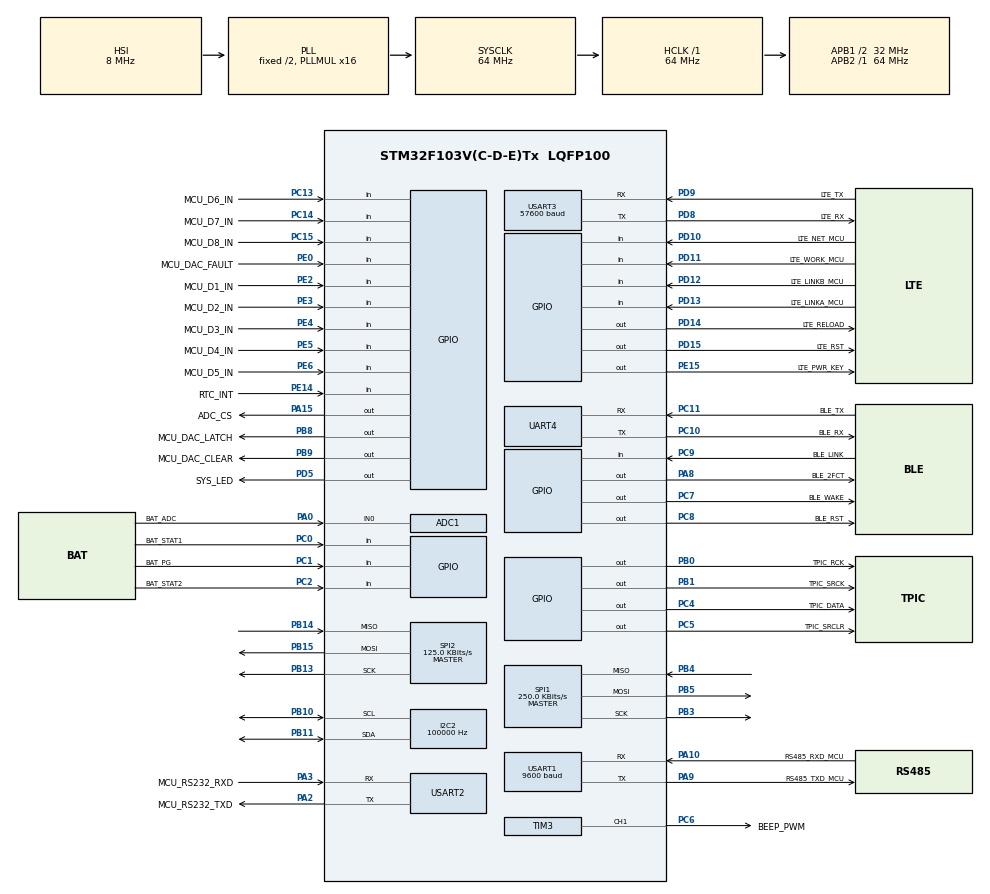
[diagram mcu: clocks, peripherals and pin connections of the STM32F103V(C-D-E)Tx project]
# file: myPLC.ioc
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PD12.GPIO_Label=LTE_LINKB_MCU
PD14.GPIO_ModeDefaultOutputPP=GPIO_MODE_OUTPUT_OD
SPI1.VirtualType=VM_MASTER
SPI2.VirtualType=VM_MASTER
PB10.Mode=I2C
PA10.GPIO_PuPd=GPIO_PULLUP
PA3.GPIO_PuPd=GPIO_PULLUP
Dma.USART3_TX.1.PeriphDataAlignment=DMA_PDATAALIGN_BYTE
PB9.GPIO_ModeDefaultOutputPP=GPIO_MODE_OUTPUT_PP
PC6.GPIO_Label=BEEP_PWM
PD10.GPIO_PuPd=GPIO_PULLUP
Dma.USART3_TX.1.Instance=DMA1_Channel2
PB13.Signal=SPI2_SCK
PC15-OSC32_OUT.GPIO_Label=MCU_D8_IN
PE6.GPIO_Label=MCU_D5_IN
RCC.SYSCLKSource=RCC_SYSCLKSOURCE_PLLCLK
NVIC.DMA1_Channel3_IRQn=true\:0\:0\:false\:false\:true\:true\:false\:true
PD14.GPIO_Speed=GPIO_SPEED_FREQ_MEDIUM
USART3.BaudRate=57600
PD13.GPIO_Mode=GPIO_MODE_INPUT
SPI1.Direction=SPI_DIRECTION_2LINES
RCC.APB2TimFreq_Value=64000000
PC7.Signal=GPIO_Output
SPI1.CalculateBaudRate=250.0 KBits/s
PD8.Signal=USART3_TX
PE5.Signal=GPIO_Input
PB3.Mode=Full_Duplex_Master
PC1.GPIO_PuPd=GPIO_PULLUP
PC4.GPIO_Label=TPIC_DATA
PB1.GPIO_Speed=GPIO_SPEED_FREQ_MEDIUM
PB14.Mode=Full_Duplex_Master
PB1.GPIO_Label=TPIC_SRCK
PD11.GPIO_Mode=GPIO_MODE_INPUT
PE4.GPIO_Label=MCU_D3_IN
PB8.PinState=GPIO_PIN_SET
SPI2.CalculateBaudRate=125.0 KBits/s
PE2.Signal=GPIO_Input
PA8.Signal=GPIO_Output
PD14.GPIO_PuPd=GPIO_PULLUP
PA8.GPIO_ModeDefaultOutputPP=GPIO_MODE_OUTPUT_OD
NVIC.DMA2_Channel3_IRQn=true\:0\:0\:false\:false\:true\:true\:false\:true
Dma.UART4_RX.2.Direction=DMA_PERIPH_TO_MEMORY
Dma.USART3_TX.1.Priority=DMA_PRIORITY_LOW
Mcu.Package=LQFP100
PE2.GPIO_Mode=GPIO_MODE_INPUT
PB9.Signal=GPIO_Output
PB1.Signal=GPIO_Output
ADC1.EnableInjectedConversion=DISABLE
NVIC.TimeBase=TIM7_IRQn
SPI2.Mode=SPI_MODE_MASTER
Dma.USART1_RX.4.Direction=DMA_PERIPH_TO_MEMORY
PD12.Signal=GPIO_Input
PC13-TAMPER-RTC.GPIO_PuPd=GPIO_PULLUP
NVIC.TimeBaseIP=TIM7
PA10.Signal=USART1_RX
PB9.GPIO_PuPd=GPIO_PULLUP
PC8.GPIO_Speed=GPIO_SPEED_FREQ_MEDIUM
PC11.Mode=Asynchronous
Dma.UART4_TX.3.PeriphDataAlignment=DMA_PDATAALIGN_BYTE
PC2.GPIO_Mode=GPIO_MODE_INPUT
RCC.APB1TimFreq_Value=64000000
PD5.GPIO_Speed=GPIO_SPEED_FREQ_MEDIUM
PB0.GPIO_ModeDefaultOutputPP=GPIO_MODE_OUTPUT_PP
PB13.Mode=Full_Duplex_Master
NVIC.DMA1_Channel4_IRQn=true\:0\:0\:false\:false\:true\:true\:false\:true
Dma.USART3_TX.1.PeriphInc=DMA_PINC_DISABLE
NVIC.USART1_IRQn=true\:0\:0\:false\:false\:true\:false\:true\:true
PE6.GPIO_PuPd=GPIO_PULLUP
PD9.GPIO_PuPd=GPIO_PULLUP
PA8.GPIO_Speed=GPIO_SPEED_FREQ_MEDIUM
PD15.Signal=GPIO_Output
NVIC.UART4_IRQn=true\:0\:0\:false\:false\:true\:false\:true\:true
Dma.USART3_RX.0.Instance=DMA1_Channel3
PC7.GPIO_ModeDefaultOutputPP=GPIO_MODE_OUTPUT_OD
Dma.USART3_TX.1.MemDataAlignment=DMA_MDATAALIGN_BYTE
FREERTOS.Tasks01=defaultTask,24,128,StartDefaultTask,Default,NULL,Dynamic,NULL,NULL
PD9.GPIO_Label=LTE_TX
PC4.PinState=GPIO_PIN_SET
PA9.GPIO_Label=RS485_TXD_MCU
PB8.GPIO_PuPd=GPIO_PULLUP
PC6.Signal=S_TIM3_CH1
PC2.Signal=GPIO_Input
Dma.USART1_RX.4.Priority=DMA_PRIORITY_LOW
SPI1.CLKPhase=SPI_PHASE_2EDGE
Dma.USART1_TX.5.MemDataAlignment=DMA_MDATAALIGN_BYTE
Dma.USART1_RX.4.Mode=DMA_NORMAL
PC0.Signal=GPIO_Input
RCC.APB1CLKDivider=RCC_HCLK_DIV2
UART4.VirtualMode=Asynchronous
PC14-OSC32_IN.Signal=GPIO_Input
Dma.UART4_RX.2.PeriphInc=DMA_PINC_DISABLE
PA0-WKUP.GPIO_Label=BAT_ADC
PA0-WKUP.Signal=ADCx_IN0
PD10.Signal=GPIO_Input
PA3.Mode=Asynchronous
PB8.GPIO_Label=MCU_DAC_LATCH
PA8.GPIO_Label=BLE_2FCT
PB11.Mode=I2C
PA9.Signal=USART1_TX
PC7.GPIO_PuPd=GPIO_PULLUP
PD8.Mode=Asynchronous
PB10.Signal=I2C2_SCL
PB14.Signal=SPI2_MISO
PE2.GPIO_PuPd=GPIO_PULLUP
PD14.PinState=GPIO_PIN_SET
Dma.UART4_RX.2.Mode=DMA_NORMAL
PC13-TAMPER-RTC.GPIO_Label=MCU_D6_IN
PE14.Signal=GPIO_Input
PE15.Signal=GPIO_Output
SPI1.Mode=SPI_MODE_MASTER
PC9.GPIO_PuPd=GPIO_PULLUP
PE3.GPIO_PuPd=GPIO_PULLUP
PC15-OSC32_OUT.GPIO_PuPd=GPIO_PULLUP
PA13.Mode=Serial_Wire
PE4.GPIO_PuPd=GPIO_PULLUP
PC7.GPIO_Label=BLE_WAKE
PC8.GPIO_PuPd=GPIO_PULLUP
ADC1.SamplingTime-1\#ChannelRegularConversion=ADC_SAMPLETIME_1CYCLE_5
PB5.Signal=SPI1_MOSI
ADC1.master=1
PD11.Signal=GPIO_Input
PD15.GPIO_ModeDefaultOutputPP=GPIO_MODE_OUTPUT_OD
PE5.GPIO_Label=MCU_D4_IN
USART1.VirtualMode=VM_ASYNC
PB9.PinState=GPIO_PIN_SET
ADC1.Rank-1\#ChannelRegularConversion=1
ProjectManager.HeapSize=0x200
NVIC.PriorityGroup=NVIC_PRIORITYGROUP_4
PC5.GPIO_Speed=GPIO_SPEED_FREQ_MEDIUM
PE15.GPIO_Speed=GPIO_SPEED_FREQ_MEDIUM
ADC1.EnableRegularConversion=ENABLE
PE3.Signal=GPIO_Input
Dma.USART1_TX.5.Instance=DMA1_Channel4
PC14-OSC32_IN.GPIO_PuPd=GPIO_PULLUP
PD5.GPIO_ModeDefaultOutputPP=GPIO_MODE_OUTPUT_OD
PB1.GPIO_ModeDefaultOutputPP=GPIO_MODE_OUTPUT_PP
PB0.Signal=GPIO_Output
PE0.GPIO_Mode=GPIO_MODE_INPUT
PC1.Signal=GPIO_Input
PE15.GPIO_ModeDefaultOutputPP=GPIO_MODE_OUTPUT_OD
Mcu.Family=STM32F1
NVIC.USART3_IRQn=true\:0\:0\:false\:false\:true\:false\:true\:true
Dma.USART1_TX.5.MemInc=DMA_MINC_ENABLE
Dma.USART3_RX.0.PeriphInc=DMA_PINC_DISABLE
NVIC.DMA1_Channel5_IRQn=true\:0\:0\:false\:false\:true\:true\:false\:true
ADC1.ContinuousConvMode=DISABLE
Dma.USART1_TX.5.Priority=DMA_PRIORITY_LOW
USART1.BaudRate=9600
PD15.GPIO_Speed=GPIO_SPEED_FREQ_MEDIUM
Dma.USART3_TX.1.MemInc=DMA_MINC_ENABLE
PC10.Signal=UART4_TX
PC0.GPIO_Label=BAT_STAT1
PB0.GPIO_Label=TPIC_RCK
PB11.Signal=I2C2_SDA
PB15.Signal=SPI2_MOSI
PD9.Mode=Asynchronous
Dma.UART4_TX.3.Priority=DMA_PRIORITY_LOW
ProjectManager.StackSize=0x400
PC8.PinState=GPIO_PIN_SET
VP_FREERTOS_VS_CMSIS_V2.Mode=CMSIS_V2
Dma.USART1_TX.5.PeriphInc=DMA_PINC_DISABLE
PD13.Signal=GPIO_Input
PD11.GPIO_PuPd=GPIO_PULLUP
Dma.UART4_TX.3.Direction=DMA_MEMORY_TO_PERIPH
PA15.GPIO_Label=ADC_CS
PC11.GPIO_PuPd=GPIO_PULLUP
PE5.GPIO_PuPd=GPIO_PULLUP
PB0.PinState=GPIO_PIN_SET
PB1.GPIO_PuPd=GPIO_PULLUP
PD11.GPIO_Label=LTE_WORK_MCU
RCC.HCLKFreq_Value=64000000
Dma.USART1_RX.4.MemDataAlignment=DMA_MDATAALIGN_BYTE
Dma.UART4_RX.2.MemDataAlignment=DMA_MDATAALIGN_BYTE
Dma.USART1_TX.5.Direction=DMA_MEMORY_TO_PERIPH
RCC.AHBFreq_Value=64000000
SPI2.BaudRatePrescaler=SPI_BAUDRATEPRESCALER_256
TIM3.Channel-PWM\ Generation1\ CH1=TIM_CHANNEL_1
PC1.GPIO_Mode=GPIO_MODE_INPUT
Dma.USART3_RX.0.MemDataAlignment=DMA_MDATAALIGN_BYTE
Dma.USART3_TX.1.Mode=DMA_NORMAL
PD15.PinState=GPIO_PIN_SET
RCC.PLLMUL=RCC_PLL_MUL16
PC4.GPIO_Speed=GPIO_SPEED_FREQ_MEDIUM
Dma.USART1_RX.4.Instance=DMA1_Channel5
PB4.Mode=Full_Duplex_Master
Dma.USART1_TX.5.Mode=DMA_NORMAL
PA14.Mode=Serial_Wire
PC11.GPIO_Label=BLE_TX
PB5.Mode=Full_Duplex_Master
PA10.GPIO_Label=RS485_RXD_MCU
Dma.USART3_RX.0.PeriphDataAlignment=DMA_PDATAALIGN_BYTE
PC7.PinState=GPIO_PIN_SET
SH.ADCx_IN0.0=ADC1_IN0,IN0
SH.S_TIM3_CH1.0=TIM3_CH1,PWM Generation1 CH1
PA15.GPIO_ModeDefaultOutputPP=GPIO_MODE_OUTPUT_PP
PE4.Signal=GPIO_Input
FREERTOS.configTOTAL_HEAP_SIZE=30720
PD12.GPIO_Mode=GPIO_MODE_INPUT
Dma.UART4_RX.2.Instance=DMA2_Channel3
TIM3.OCPolarity_1=TIM_OCPOLARITY_HIGH
PB1.PinState=GPIO_PIN_SET
PD13.GPIO_Label=LTE_LINKA_MCU
Dma.USART3_RX.0.Direction=DMA_PERIPH_TO_MEMORY
USART2.VirtualMode=VM_ASYNC
PD5.GPIO_Label=SYS_LED
PA2.GPIO_Label=MCU_RS232_TXD
PD15.GPIO_PuPd=GPIO_PULLUP
PC8.GPIO_ModeDefaultOutputPP=GPIO_MODE_OUTPUT_OD
PA15.Signal=GPIO_Output
Dma.UART4_RX.2.PeriphDataAlignment=DMA_PDATAALIGN_BYTE
PB8.GPIO_ModeDefaultOutputPP=GPIO_MODE_OUTPUT_PP
PE0.GPIO_Label=MCU_DAC_FAULT
Dma.USART3_RX.0.MemInc=DMA_MINC_ENABLE
PB9.GPIO_Speed=GPIO_SPEED_FREQ_MEDIUM
PE3.GPIO_Mode=GPIO_MODE_INPUT
Dma.Request2=UART4_RX
Dma.Request1=USART3_TX
Dma.Request4=USART1_RX
Dma.Request3=UART4_TX
Dma.Request5=USART1_TX
PC14-OSC32_IN.GPIO_Label=MCU_D7_IN
SPI2.Direction=SPI_DIRECTION_2LINES
PC5.Signal=GPIO_Output
PE14.GPIO_Mode=GPIO_MODE_INPUT
NVIC.DMA2_Channel4_5_IRQn=true\:0\:0\:false\:false\:true\:true\:false\:true
PC0.GPIO_PuPd=GPIO_PULLUP
PC4.GPIO_ModeDefaultOutputPP=GPIO_MODE_OUTPUT_PP
Dma.Request0=USART3_RX
SPI1.BaudRatePrescaler=SPI_BAUDRATEPRESCALER_256
I2C2.I2C_Mode=I2C_Standard
PC2.GPIO_Label=BAT_STAT2
PE2.GPIO_Label=MCU_D1_IN
NVIC.TIM7_IRQn=true\:0\:0\:false\:false\:true\:false\:false\:true
PA8.PinState=GPIO_PIN_SET
PB4.Signal=SPI1_MISO
PA3.Signal=USART2_RX
PE0.GPIO_PuPd=GPIO_PULLUP
PD15.GPIO_Label=LTE_RST
PB9.GPIO_Label=MCU_DAC_CLEAR
PC10.GPIO_Label=BLE_RX
PA10.Mode=Asynchronous
PE6.GPIO_Mode=GPIO_MODE_INPUT
PC9.GPIO_Label=BLE_LINK
PC4.GPIO_PuPd=GPIO_PULLUP
PC11.Signal=UART4_RX
VP_SYS_VS_tim7.Mode=TIM7
PC8.Signal=GPIO_Output
PC4.Signal=GPIO_Output
PC10.Mode=Asynchronous
PE5.GPIO_Mode=GPIO_MODE_INPUT
PC13-TAMPER-RTC.Signal=GPIO_Input
Dma.UART4_RX.2.Priority=DMA_PRIORITY_LOW
PE14.GPIO_Label=RTC_INT
PD9.Signal=USART3_RX
PD5.Signal=GPIO_Output
PC5.GPIO_PuPd=GPIO_PULLUP
NVIC.USART2_IRQn=true\:0\:0\:false\:false\:true\:false\:true\:true
Dma.UART4_RX.2.MemInc=DMA_MINC_ENABLE
Dma.USART3_RX.0.Mode=DMA_NORMAL
PD8.GPIO_Label=LTE_RX
PB0.GPIO_Speed=GPIO_SPEED_FREQ_MEDIUM
RCC.ADCPresc=RCC_ADCPCLK2_DIV8
PD10.GPIO_Mode=GPIO_MODE_INPUT
PC8.GPIO_Label=BLE_RST
PA13.Signal=SYS_JTMS-SWDIO
PE4.GPIO_Mode=GPIO_MODE_INPUT
PA9.Mode=Asynchronous
PE15.GPIO_Label=LTE_PWR_KEY
Dma.USART1_TX.5.PeriphDataAlignment=DMA_PDATAALIGN_BYTE
NVIC.DMA1_Channel2_IRQn=true\:0\:0\:false\:false\:true\:true\:false\:true
ProjectManager.TargetToolchain=MDK-ARM V5.27
FREERTOS.configTIMER_TASK_STACK_DEPTH=2560
Dma.UART4_TX.3.Mode=DMA_NORMAL
ADC1.Channel-1\#ChannelRegularConversion=ADC_CHANNEL_0
RCC.USBFreq_Value=64000000
PD10.GPIO_Label=LTE_NET_MCU
PC15-OSC32_OUT.Signal=GPIO_Input
Dma.UART4_TX.3.MemDataAlignment=DMA_MDATAALIGN_BYTE
board=custom
PC7.GPIO_Speed=GPIO_SPEED_FREQ_MEDIUM
PB15.Mode=Full_Duplex_Master
PA15.PinState=GPIO_PIN_SET
RCC.APB2Freq_Value=64000000
PC0.GPIO_Mode=GPIO_MODE_INPUT
Dma.USART1_RX.4.PeriphDataAlignment=DMA_PDATAALIGN_BYTE
I2C2.ClockSpeed=100000
PC1.GPIO_Label=BAT_PG
Dma.UART4_TX.3.PeriphInc=DMA_PINC_DISABLE
PD13.GPIO_PuPd=GPIO_PULLUP
PD5.GPIO_PuPd=GPIO_PULLUP
PD14.GPIO_Label=LTE_RELOAD
PE14.GPIO_PuPd=GPIO_PULLUP
PD5.PinState=GPIO_PIN_SET
Dma.UART4_TX.3.Instance=DMA2_Channel5
PC2.GPIO_PuPd=GPIO_PULLUP
PE6.Signal=GPIO_Input
Mcu.Name=STM32F103V(C-D-E)Tx
PE0.Signal=GPIO_Input
Dma.UART4_TX.3.MemInc=DMA_MINC_ENABLE
PA2.Signal=USART2_TX
PD14.Signal=GPIO_Output
PB3.Signal=SPI1_SCK
RCC.SYSCLKFreq_VALUE=64000000
Dma.USART3_RX.0.Priority=DMA_PRIORITY_LOW
PC5.PinState=GPIO_PIN_SET
PC5.GPIO_Label=TPIC_SRCLR
USART3.VirtualMode=VM_ASYNC
PA15.GPIO_Speed=GPIO_SPEED_FREQ_HIGH
PA14.Signal=SYS_JTCK-SWCLK
Dma.USART1_RX.4.MemInc=DMA_MINC_ENABLE
PE15.GPIO_PuPd=GPIO_PULLUP
PA8.GPIO_PuPd=GPIO_PULLUP
ADC1.NbrOfConversionFlag=1
Dma.USART3_TX.1.Direction=DMA_MEMORY_TO_PERIPH
PA15.GPIO_PuPd=GPIO_PULLUP
PA2.Mode=Asynchronous
PB8.Signal=GPIO_Output
PE3.GPIO_Label=MCU_D2_IN
Dma.USART1_RX.4.PeriphInc=DMA_PINC_DISABLE
PC9.Signal=GPIO_Input
RCC.APB1Freq_Value=32000000
PB8.GPIO_Speed=GPIO_SPEED_FREQ_MEDIUM
PC5.GPIO_ModeDefaultOutputPP=GPIO_MODE_OUTPUT_PP
PE15.PinState=GPIO_PIN_SET
PB0.GPIO_PuPd=GPIO_PULLUP
PD12.GPIO_PuPd=GPIO_PULLUP
PA3.GPIO_Label=MCU_RS232_RXD

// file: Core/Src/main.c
/* USER CODE BEGIN Header */
/**
  ******************************************************************************
  * @file           : main.c
  * @brief          : Main program body
  ******************************************************************************
  * @attention
  *
  * <h2><center>&copy; Copyright (c) 2020 STMicroelectronics.
  * All rights reserved.</center></h2>
  *
  * This software component is licensed by ST under Ultimate Liberty license
  * SLA0044, the "License"; You may not use this file except in compliance with
  * the License. You may obtain a copy of the License at:
  *                             www.st.com/SLA0044
  *
  ******************************************************************************
  */
/* USER CODE END Header */
#include "main.h"
#include "cmsis_os.h"

/* USER CODE BEGIN Includes */
#include "uart.h"
/* USER CODE END Includes */

/* USER CODE BEGIN PD */
void startAPP(void);
/* USER CODE END PD */

ADC_HandleTypeDef hadc1;

I2C_HandleTypeDef hi2c2;

SPI_HandleTypeDef hspi1;
SPI_HandleTypeDef hspi2;

TIM_HandleTypeDef htim3;
UART_HandleTypeDef huart2;
/*UART_HandleTypeDef huart4;
UART_HandleTypeDef huart1;

UART_HandleTypeDef huart3;
DMA_HandleTypeDef hdma_uart4_rx;
DMA_HandleTypeDef hdma_uart4_tx;
DMA_HandleTypeDef hdma_usart1_rx;
DMA_HandleTypeDef hdma_usart1_tx;
DMA_HandleTypeDef hdma_usart3_rx;
DMA_HandleTypeDef hdma_usart3_tx;
*/
/* Definitions for defaultTask */
osThreadId_t defaultTaskHandle;
const osThreadAttr_t defaultTask_attributes = {
  .name = "defaultTask",
  .priority = (osPriority_t) osPriorityNormal,
  .stack_size = 128 * 4
};
/* USER CODE BEGIN PV */

/* Definitions for myI2C2BinarySem */
osSemaphoreId_t myI2C2BinarySemHandle;
const osSemaphoreAttr_t myI2C2BinarySem_attributes = {
  .name = "myI2C2BinarySem"
};
osSemaphoreId_t relayOutBinarySemHandle;
const osSemaphoreAttr_t relayOutBinarySem_attributes = {
  .name = "relayOutBinarySem"
};
/* USER CODE END PV */

void SystemClock_Config(void);
static void MX_GPIO_Init(void);
static void MX_DMA_Init(void);
static void MX_ADC1_Init(void);
static void MX_I2C2_Init(void);
static void MX_UART4_Init(void);
static void MX_USART1_UART_Init(void);
static void MX_USART2_UART_Init(void);
static void MX_USART3_UART_Init(void);
static void MX_TIM3_Init(void);
static void MX_SPI1_Init(void);
static void MX_SPI2_Init(void);
void StartDefaultTask(void *argument);

int main(void)
{

  /* MCU Configuration--------------------------------------------------------*/

  /* Reset of all peripherals, Initializes the Flash interface and the Systick. */
  HAL_Init();

  /* Configure the system clock */
  SystemClock_Config();

  /* Initialize all configured peripherals */
  MX_GPIO_Init();
  MX_DMA_Init();
  MX_ADC1_Init();
  MX_I2C2_Init();
  MX_UART4_Init();
  MX_USART1_UART_Init();
  MX_USART2_UART_Init();
  MX_USART3_UART_Init();
  MX_TIM3_Init();
  MX_SPI1_Init();
  MX_SPI2_Init();

  /* Init scheduler */
  osKernelInitialize();

  /* USER CODE BEGIN RTOS_SEMAPHORES */
  /* add semaphores, ... */
  /* Create the semaphores(s) */
  /* creation of myI2C2BinarySem */
  myI2C2BinarySemHandle = osSemaphoreNew(1, 1, &myI2C2BinarySem_attributes);
  relayOutBinarySemHandle = osSemaphoreNew(1, 1, &relayOutBinarySem_attributes);
  /* USER CODE END RTOS_SEMAPHORES */

  /* Create the thread(s) */
  /* creation of defaultTask */
  defaultTaskHandle = osThreadNew(StartDefaultTask, NULL, &defaultTask_attributes);

  /* Start scheduler */
  osKernelStart();

  /* We should never get here as control is now taken by the scheduler */
  /* Infinite loop */
  while (1)
  {

  }
}

void SystemClock_Config(void)
{
  RCC_OscInitTypeDef RCC_OscInitStruct = {0};
  RCC_ClkInitTypeDef RCC_ClkInitStruct = {0};
  RCC_PeriphCLKInitTypeDef PeriphClkInit = {0};

  /** Initializes the RCC Oscillators according to the specified parameters
  * in the RCC_OscInitTypeDef structure.
  */
  RCC_OscInitStruct.OscillatorType = RCC_OSCILLATORTYPE_HSI;
  RCC_OscInitStruct.HSIState = RCC_HSI_ON;
  RCC_OscInitStruct.HSICalibrationValue = RCC_HSICALIBRATION_DEFAULT;
  RCC_OscInitStruct.PLL.PLLState = RCC_PLL_ON;
  RCC_OscInitStruct.PLL.PLLSource = RCC_PLLSOURCE_HSI_DIV2;
  RCC_OscInitStruct.PLL.PLLMUL = RCC_PLL_MUL16;
  if (HAL_RCC_OscConfig(&RCC_OscInitStruct) != HAL_OK)
  {
    Error_Handler();
  }
  /** Initializes the CPU, AHB and APB buses clocks
  */
  RCC_ClkInitStruct.ClockType = RCC_CLOCKTYPE_HCLK|RCC_CLOCKTYPE_SYSCLK
                              |RCC_CLOCKTYPE_PCLK1|RCC_CLOCKTYPE_PCLK2;
  RCC_ClkInitStruct.SYSCLKSource = RCC_SYSCLKSOURCE_PLLCLK;
  RCC_ClkInitStruct.AHBCLKDivider = RCC_SYSCLK_DIV1;
  RCC_ClkInitStruct.APB1CLKDivider = RCC_HCLK_DIV2;
  RCC_ClkInitStruct.APB2CLKDivider = RCC_HCLK_DIV1;

  if (HAL_RCC_ClockConfig(&RCC_ClkInitStruct, FLASH_LATENCY_2) != HAL_OK)
  {
    Error_Handler();
  }
  PeriphClkInit.PeriphClockSelection = RCC_PERIPHCLK_ADC;
  PeriphClkInit.AdcClockSelection = RCC_ADCPCLK2_DIV8;
  if (HAL_RCCEx_PeriphCLKConfig(&PeriphClkInit) != HAL_OK)
  {
    Error_Handler();
  }
}

static void MX_ADC1_Init(void)
{

  ADC_ChannelConfTypeDef sConfig = {0};

  /** Common config
  */
  hadc1.Instance = ADC1;
  hadc1.Init.ScanConvMode = ADC_SCAN_DISABLE;
  hadc1.Init.ContinuousConvMode = DISABLE;
  hadc1.Init.DiscontinuousConvMode = DISABLE;
  hadc1.Init.ExternalTrigConv = ADC_SOFTWARE_START;
  hadc1.Init.DataAlign = ADC_DATAALIGN_RIGHT;
  hadc1.Init.NbrOfConversion = 1;
  if (HAL_ADC_Init(&hadc1) != HAL_OK)
  {
    Error_Handler();
  }
  /** Configure Regular Channel
  */
  sConfig.Channel = ADC_CHANNEL_0;
  sConfig.Rank = ADC_REGULAR_RANK_1;
  sConfig.SamplingTime = ADC_SAMPLETIME_1CYCLE_5;
  if (HAL_ADC_ConfigChannel(&hadc1, &sConfig) != HAL_OK)
  {
    Error_Handler();
  }

}

static void MX_I2C2_Init(void)
{

  hi2c2.Instance = I2C2;
  hi2c2.Init.ClockSpeed = 100000;
  hi2c2.Init.DutyCycle = I2C_DUTYCYCLE_2;
  hi2c2.Init.OwnAddress1 = 0;
  hi2c2.Init.AddressingMode = I2C_ADDRESSINGMODE_7BIT;
  hi2c2.Init.DualAddressMode = I2C_DUALADDRESS_DISABLE;
  hi2c2.Init.OwnAddress2 = 0;
  hi2c2.Init.GeneralCallMode = I2C_GENERALCALL_DISABLE;
  hi2c2.Init.NoStretchMode = I2C_NOSTRETCH_DISABLE;
  if (HAL_I2C_Init(&hi2c2) != HAL_OK)
  {
    Error_Handler();
  }

}

static void MX_SPI1_Init(void)
{

  /* SPI1 parameter configuration*/
  hspi1.Instance = SPI1;
  hspi1.Init.Mode = SPI_MODE_MASTER;
  hspi1.Init.Direction = SPI_DIRECTION_2LINES;
  hspi1.Init.DataSize = SPI_DATASIZE_8BIT;
  hspi1.Init.CLKPolarity = SPI_POLARITY_LOW;
  hspi1.Init.CLKPhase = SPI_PHASE_2EDGE;
  hspi1.Init.NSS = SPI_NSS_SOFT;
  hspi1.Init.BaudRatePrescaler = SPI_BAUDRATEPRESCALER_256;
  hspi1.Init.FirstBit = SPI_FIRSTBIT_MSB;
  hspi1.Init.TIMode = SPI_TIMODE_DISABLE;
  hspi1.Init.CRCCalculation = SPI_CRCCALCULATION_DISABLE;
  hspi1.Init.CRCPolynomial = 10;
  if (HAL_SPI_Init(&hspi1) != HAL_OK)
  {
    Error_Handler();
  }

}

static void MX_SPI2_Init(void)
{

  /* SPI2 parameter configuration*/
  hspi2.Instance = SPI2;
  hspi2.Init.Mode = SPI_MODE_MASTER;
  hspi2.Init.Direction = SPI_DIRECTION_2LINES;
  hspi2.Init.DataSize = SPI_DATASIZE_8BIT;
  hspi2.Init.CLKPolarity = SPI_POLARITY_LOW;
  hspi2.Init.CLKPhase = SPI_PHASE_1EDGE;
  hspi2.Init.NSS = SPI_NSS_SOFT;
  hspi2.Init.BaudRatePrescaler = SPI_BAUDRATEPRESCALER_256;
  hspi2.Init.FirstBit = SPI_FIRSTBIT_MSB;
  hspi2.Init.TIMode = SPI_TIMODE_DISABLE;
  hspi2.Init.CRCCalculation = SPI_CRCCALCULATION_DISABLE;
  hspi2.Init.CRCPolynomial = 10;
  if (HAL_SPI_Init(&hspi2) != HAL_OK)
  {
    Error_Handler();
  }

}

static void MX_TIM3_Init(void)
{

  TIM_MasterConfigTypeDef sMasterConfig = {0};
  TIM_OC_InitTypeDef sConfigOC = {0};

  htim3.Instance = TIM3;
  htim3.Init.Prescaler = 0;
  htim3.Init.CounterMode = TIM_COUNTERMODE_UP;
  htim3.Init.Period = 65535;
  htim3.Init.ClockDivision = TIM_CLOCKDIVISION_DIV1;
  htim3.Init.AutoReloadPreload = TIM_AUTORELOAD_PRELOAD_DISABLE;
  if (HAL_TIM_PWM_Init(&htim3) != HAL_OK)
  {
    Error_Handler();
  }
  sMasterConfig.MasterOutputTrigger = TIM_TRGO_RESET;
  sMasterConfig.MasterSlaveMode = TIM_MASTERSLAVEMODE_DISABLE;
  if (HAL_TIMEx_MasterConfigSynchronization(&htim3, &sMasterConfig) != HAL_OK)
  {
    Error_Handler();
  }
  sConfigOC.OCMode = TIM_OCMODE_PWM1;
  sConfigOC.Pulse = 0;
  sConfigOC.OCPolarity = TIM_OCPOLARITY_HIGH;
  sConfigOC.OCFastMode = TIM_OCFAST_DISABLE;
  if (HAL_TIM_PWM_ConfigChannel(&htim3, &sConfigOC, TIM_CHANNEL_1) != HAL_OK)
  {
    Error_Handler();
  }
  HAL_TIM_MspPostInit(&htim3);

}

static void MX_UART4_Init(void)
{

  huart4.Instance = UART4;
  huart4.Init.BaudRate = 115200;
  huart4.Init.WordLength = UART_WORDLENGTH_8B;
  huart4.Init.StopBits = UART_STOPBITS_1;
  huart4.Init.Parity = UART_PARITY_NONE;
  huart4.Init.Mode = UART_MODE_TX_RX;
  huart4.Init.HwFlowCtl = UART_HWCONTROL_NONE;
  huart4.Init.OverSampling = UART_OVERSAMPLING_16;
  if (HAL_UART_Init(&huart4) != HAL_OK)
  {
    Error_Handler();
  }
  /* USER CODE BEGIN UART4_Init 2 */
	__HAL_UART_ENABLE_IT(&huart4, UART_IT_IDLE);
	HAL_UART_Receive_DMA(&huart4,RxDMABuf4,RX_BUFFER_SIZE);
  /* USER CODE END UART4_Init 2 */

}

static void MX_USART1_UART_Init(void)
{

  huart1.Instance = USART1;
  huart1.Init.BaudRate = 9600;
  huart1.Init.WordLength = UART_WORDLENGTH_8B;
  huart1.Init.StopBits = UART_STOPBITS_1;
  huart1.Init.Parity = UART_PARITY_NONE;
  huart1.Init.Mode = UART_MODE_TX_RX;
  huart1.Init.HwFlowCtl = UART_HWCONTROL_NONE;
  huart1.Init.OverSampling = UART_OVERSAMPLING_16;
  if (HAL_UART_Init(&huart1) != HAL_OK)
  {
    Error_Handler();
  }
  /* USER CODE BEGIN USART1_Init 2 */
	__HAL_UART_ENABLE_IT(&huart1, UART_IT_IDLE);
	HAL_UART_Receive_DMA(&huart1,RxDMABuf1,RX_BUFFER_SIZE);
  /* USER CODE END USART1_Init 2 */

}

static void MX_USART2_UART_Init(void)
{

  huart2.Instance = USART2;
  huart2.Init.BaudRate = 115200;
  huart2.Init.WordLength = UART_WORDLENGTH_8B;
  huart2.Init.StopBits = UART_STOPBITS_1;
  huart2.Init.Parity = UART_PARITY_NONE;
  huart2.Init.Mode = UART_MODE_TX_RX;
  huart2.Init.HwFlowCtl = UART_HWCONTROL_NONE;
  huart2.Init.OverSampling = UART_OVERSAMPLING_16;
  if (HAL_UART_Init(&huart2) != HAL_OK)
  {
    Error_Handler();
  }
  /* USER CODE BEGIN USART2_Init 2 */
	//__HAL_UART_ENABLE_IT(&huart2, UART_IT_IDLE);
	//HAL_UART_Receive_DMA(&huart2,RxDMABuf2,RX_BUFFER_SIZE);
  /* USER CODE END USART2_Init 2 */

}

static void MX_USART3_UART_Init(void)
{

  huart3.Instance = USART3;
  huart3.Init.BaudRate = 9600;
  huart3.Init.WordLength = UART_WORDLENGTH_8B;
  huart3.Init.StopBits = UART_STOPBITS_1;
  huart3.Init.Parity = UART_PARITY_NONE;
  huart3.Init.Mode = UART_MODE_TX_RX;
  huart3.Init.HwFlowCtl = UART_HWCONTROL_NONE;
  huart3.Init.OverSampling = UART_OVERSAMPLING_16;
  if (HAL_UART_Init(&huart3) != HAL_OK)
  {
    Error_Handler();
  }
  /* USER CODE BEGIN USART3_Init 2 */
	__HAL_UART_ENABLE_IT(&huart3, UART_IT_IDLE);
	HAL_UART_Receive_DMA(&huart3,RxDMABuf3,RX_BUFFER_SIZE);
  /* USER CODE END USART3_Init 2 */

}

static void MX_DMA_Init(void)
{

  /* DMA controller clock enable */
  __HAL_RCC_DMA1_CLK_ENABLE();
  __HAL_RCC_DMA2_CLK_ENABLE();

  /* DMA interrupt init */
  /* DMA1_Channel2_IRQn interrupt configuration */
  HAL_NVIC_SetPriority(DMA1_Channel2_IRQn, 0, 0);
  HAL_NVIC_EnableIRQ(DMA1_Channel2_IRQn);
  /* DMA1_Channel3_IRQn interrupt configuration */
  HAL_NVIC_SetPriority(DMA1_Channel3_IRQn, 0, 0);
  HAL_NVIC_EnableIRQ(DMA1_Channel3_IRQn);
  /* DMA1_Channel4_IRQn interrupt configuration */
  HAL_NVIC_SetPriority(DMA1_Channel4_IRQn, 0, 0);
  HAL_NVIC_EnableIRQ(DMA1_Channel4_IRQn);
  /* DMA1_Channel5_IRQn interrupt configuration */
  HAL_NVIC_SetPriority(DMA1_Channel5_IRQn, 0, 0);
  HAL_NVIC_EnableIRQ(DMA1_Channel5_IRQn);
  /* DMA2_Channel3_IRQn interrupt configuration */
  HAL_NVIC_SetPriority(DMA2_Channel3_IRQn, 0, 0);
  HAL_NVIC_EnableIRQ(DMA2_Channel3_IRQn);
  /* DMA2_Channel4_5_IRQn interrupt configuration */
  HAL_NVIC_SetPriority(DMA2_Channel4_5_IRQn, 0, 0);
  HAL_NVIC_EnableIRQ(DMA2_Channel4_5_IRQn);

}

static void MX_GPIO_Init(void)
{
  GPIO_InitTypeDef GPIO_InitStruct = {0};

  /* GPIO Ports Clock Enable */
  __HAL_RCC_GPIOE_CLK_ENABLE();
  __HAL_RCC_GPIOC_CLK_ENABLE();
  __HAL_RCC_GPIOA_CLK_ENABLE();
  __HAL_RCC_GPIOB_CLK_ENABLE();
  __HAL_RCC_GPIOD_CLK_ENABLE();

  /*Configure GPIO pin Output Level */
  HAL_GPIO_WritePin(GPIOC, TPIC_DATA_Pin|TPIC_SRCLR_Pin|BLE_WAKE_Pin|BLE_RST_Pin, GPIO_PIN_SET);

  /*Configure GPIO pin Output Level */
  HAL_GPIO_WritePin(GPIOB, TPIC_RCK_Pin|TPIC_SRCK_Pin|MCU_DAC_LATCH_Pin|MCU_DAC_CLEAR_Pin, GPIO_PIN_SET);

  /*Configure GPIO pin Output Level */
  HAL_GPIO_WritePin(LTE_PWR_KEY_GPIO_Port, LTE_PWR_KEY_Pin, GPIO_PIN_SET);

  /*Configure GPIO pin Output Level */
  HAL_GPIO_WritePin(GPIOD, LTE_RELOAD_Pin|LTE_RST_Pin|SYS_LED_Pin, GPIO_PIN_SET);

  /*Configure GPIO pin Output Level */
  HAL_GPIO_WritePin(GPIOA, BLE_2FCT_Pin|ADC_CS_Pin, GPIO_PIN_SET);

  /*Configure GPIO pins : MCU_D1_IN_Pin MCU_D2_IN_Pin MCU_D3_IN_Pin MCU_D4_IN_Pin
                           MCU_D5_IN_Pin RTC_INT_Pin MCU_DAC_FAULT_Pin */
  GPIO_InitStruct.Pin = MCU_D1_IN_Pin|MCU_D2_IN_Pin|MCU_D3_IN_Pin|MCU_D4_IN_Pin
                          |MCU_D5_IN_Pin|RTC_INT_Pin|MCU_DAC_FAULT_Pin;
  GPIO_InitStruct.Mode = GPIO_MODE_INPUT;
  GPIO_InitStruct.Pull = GPIO_PULLUP;
  HAL_GPIO_Init(GPIOE, &GPIO_InitStruct);

  /*Configure GPIO pins : MCU_D6_IN_Pin MCU_D7_IN_Pin MCU_D8_IN_Pin BAT_STAT1_Pin
                           BAT_PG_Pin BAT_STAT2_Pin BLE_LINK_Pin */
  GPIO_InitStruct.Pin = MCU_D6_IN_Pin|MCU_D7_IN_Pin|MCU_D8_IN_Pin|BAT_STAT1_Pin
                          |BAT_PG_Pin|BAT_STAT2_Pin|BLE_LINK_Pin;
  GPIO_InitStruct.Mode = GPIO_MODE_INPUT;
  GPIO_InitStruct.Pull = GPIO_PULLUP;
  HAL_GPIO_Init(GPIOC, &GPIO_InitStruct);

  /*Configure GPIO pins : TPIC_DATA_Pin TPIC_SRCLR_Pin */
  GPIO_InitStruct.Pin = TPIC_DATA_Pin|TPIC_SRCLR_Pin;
  GPIO_InitStruct.Mode = GPIO_MODE_OUTPUT_PP;
  GPIO_InitStruct.Pull = GPIO_PULLUP;
  GPIO_InitStruct.Speed = GPIO_SPEED_FREQ_MEDIUM;
  HAL_GPIO_Init(GPIOC, &GPIO_InitStruct);

  /*Configure GPIO pins : TPIC_RCK_Pin TPIC_SRCK_Pin MCU_DAC_LATCH_Pin MCU_DAC_CLEAR_Pin */
  GPIO_InitStruct.Pin = TPIC_RCK_Pin|TPIC_SRCK_Pin|MCU_DAC_LATCH_Pin|MCU_DAC_CLEAR_Pin;
  GPIO_InitStruct.Mode = GPIO_MODE_OUTPUT_PP;
  GPIO_InitStruct.Pull = GPIO_PULLUP;
  GPIO_InitStruct.Speed = GPIO_SPEED_FREQ_MEDIUM;
  HAL_GPIO_Init(GPIOB, &GPIO_InitStruct);

  /*Configure GPIO pin : LTE_PWR_KEY_Pin */
  GPIO_InitStruct.Pin = LTE_PWR_KEY_Pin;
  GPIO_InitStruct.Mode = GPIO_MODE_OUTPUT_OD;
  GPIO_InitStruct.Pull = GPIO_PULLUP;
  GPIO_InitStruct.Speed = GPIO_SPEED_FREQ_MEDIUM;
  HAL_GPIO_Init(LTE_PWR_KEY_GPIO_Port, &GPIO_InitStruct);

  /*Configure GPIO pins : LTE_NET_MCU_Pin LTE_WORK_MCU_Pin LTE_LINKB_MCU_Pin LTE_LINKA_MCU_Pin */
  GPIO_InitStruct.Pin = LTE_NET_MCU_Pin|LTE_WORK_MCU_Pin|LTE_LINKB_MCU_Pin|LTE_LINKA_MCU_Pin;
  GPIO_InitStruct.Mode = GPIO_MODE_INPUT;
  GPIO_InitStruct.Pull = GPIO_PULLUP;
  HAL_GPIO_Init(GPIOD, &GPIO_InitStruct);

  /*Configure GPIO pins : LTE_RELOAD_Pin LTE_RST_Pin SYS_LED_Pin */
  GPIO_InitStruct.Pin = LTE_RELOAD_Pin|LTE_RST_Pin|SYS_LED_Pin;
  GPIO_InitStruct.Mode = GPIO_MODE_OUTPUT_OD;
  GPIO_InitStruct.Pull = GPIO_PULLUP;
  GPIO_InitStruct.Speed = GPIO_SPEED_FREQ_MEDIUM;
  HAL_GPIO_Init(GPIOD, &GPIO_InitStruct);

  /*Configure GPIO pins : BLE_WAKE_Pin BLE_RST_Pin */
  GPIO_InitStruct.Pin = BLE_WAKE_Pin|BLE_RST_Pin;
  GPIO_InitStruct.Mode = GPIO_MODE_OUTPUT_OD;
  GPIO_InitStruct.Pull = GPIO_PULLUP;
  GPIO_InitStruct.Speed = GPIO_SPEED_FREQ_MEDIUM;
  HAL_GPIO_Init(GPIOC, &GPIO_InitStruct);

  /*Configure GPIO pin : BLE_2FCT_Pin */
  GPIO_InitStruct.Pin = BLE_2FCT_Pin;
  GPIO_InitStruct.Mode = GPIO_MODE_OUTPUT_OD;
  GPIO_InitStruct.Pull = GPIO_PULLUP;
  GPIO_InitStruct.Speed = GPIO_SPEED_FREQ_MEDIUM;
  HAL_GPIO_Init(BLE_2FCT_GPIO_Port, &GPIO_InitStruct);

  /*Configure GPIO pin : ADC_CS_Pin */
  GPIO_InitStruct.Pin = ADC_CS_Pin;
  GPIO_InitStruct.Mode = GPIO_MODE_OUTPUT_PP;
  GPIO_InitStruct.Pull = GPIO_PULLUP;
  GPIO_InitStruct.Speed = GPIO_SPEED_FREQ_HIGH;
  HAL_GPIO_Init(ADC_CS_GPIO_Port, &GPIO_InitStruct);

}

void StartDefaultTask(void *argument)
{
  /* USER CODE BEGIN 5 */
  /* Infinite loop */
  startAPP();
  for(;;)
  {
    HAL_GPIO_WritePin(SYS_LED_GPIO_Port,SYS_LED_Pin,GPIO_PIN_RESET);
    osDelay(10);
    HAL_GPIO_WritePin(SYS_LED_GPIO_Port,SYS_LED_Pin,GPIO_PIN_SET);
    osDelay(990);
  }
  /* USER CODE END 5 */
}

void HAL_TIM_PeriodElapsedCallback(TIM_HandleTypeDef *htim)
{
  if (htim->Instance == TIM7) {
    HAL_IncTick();
  }
}

void Error_Handler(void)
{
}

/************************ (C) COPYRIGHT STMicroelectronics *****END OF FILE****/

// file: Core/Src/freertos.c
/* USER CODE BEGIN Header */
/**
  ******************************************************************************
  * File Name          : freertos.c
  * Description        : Code for freertos applications
  ******************************************************************************
  * @attention
  *
  * <h2><center>&copy; Copyright (c) 2020 STMicroelectronics.
  * All rights reserved.</center></h2>
  *
  * This software component is licensed by ST under Ultimate Liberty license
  * SLA0044, the "License"; You may not use this file except in compliance with
  * the License. You may obtain a copy of the License at:
  *                             www.st.com/SLA0044
  *
  ******************************************************************************
  */
/* USER CODE END Header */

#include "FreeRTOS.h"
#include "task.h"
#include "main.h"

/* USER CODE BEGIN Includes */
#include "cmsis_os.h"
#include <stdbool.h>
#include <stdio.h>
#include "piezo.h"
#include "sound.h"
#include "buzzer.h"
#include "mem.h"
#include "ds3231.h"
#include "iv_out.h"
#include "iv_in.h"
#include "relay_out.h"
#include "opto_in.h"
#include "calendar.h"

/* USER CODE END Includes */

/* USER CODE BEGIN Variables */
/* Definitions for testRelay */
osThreadId_t testTaskHandle;
const osThreadAttr_t testTask_attributes = {
  .name = "testTask",
  .priority = (osPriority_t) osPriorityLow,
  .stack_size = 256 * 4
};

/* USER CODE END Variables */

/* USER CODE BEGIN FunctionPrototypes */

void StartTest(void *argument);
/* USER CODE END FunctionPrototypes */

/* USER CODE BEGIN Application */

__weak void water_pumb_valve_control_task_start(void) { return; }
__weak void pre_alarm_system_task_start(void) { return; }
__weak void water_press_time_control_task_start(void) { return; }
__weak void water_press_flow_control_task_start(void) { return; }

void startAPP(void)
{
  /* creation of testRelay */
  testTaskHandle = osThreadNew(StartTest, NULL, &testTask_attributes);

  /* 水泵控制阀控制系统 */
  water_pumb_valve_control_task_start();
  /* 预报警控制 */
  pre_alarm_system_task_start();
  /* 水压-时间控制 */
  water_press_time_control_task_start();
  /* 水压-流量 */
  water_press_flow_control_task_start();
}

/* USER CODE BEGIN Header_StartTest */
/**
* @brief Function implementing the testRelay thread.
* @param argument: Not used
* @retval None
*/
/* USER CODE END Header_StartTest */
void StartTest(void *argument)
{
  for(;;)
  {
    osDelay(1000);
  }
  /* USER CODE END StartTest */
}

/* USER CODE END Application */

/************************ (C) COPYRIGHT STMicroelectronics *****END OF FILE****/
